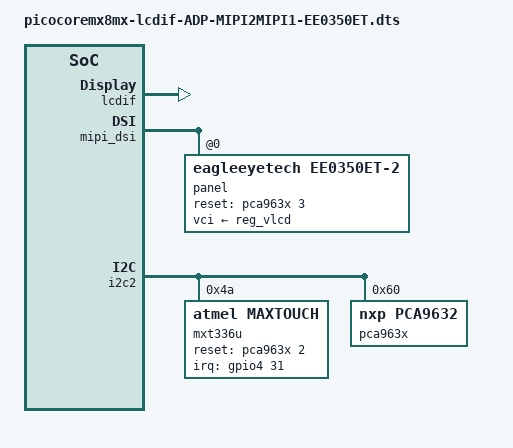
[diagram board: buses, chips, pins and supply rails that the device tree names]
/*
* Copyright (C) 2019 F&S Elektronik Systeme GmbH
*
* This program is free software; you can redistribute it and/or modify
* it under the terms of the GNU General Public License version 2 as
* published by the Free Software Foundation.
*/

#include "picocoremx8mm-bbdsi.dts"

&lcdif {
	status = "okay";
};

&mipi_dsi {
	status = "okay";

	panel@0 {
		compatible = "eagleeyetech,ee0350et-2";
		reg = <0>;
		reset-gpios = <&pca963x 3 GPIO_ACTIVE_HIGH>;
		//iovcc-supply = <&reg_vref_1v8>;
		vci-supply = <&reg_vlcd>;
		status = "okay";
	};
};


&i2c2 {
	/* Atmel PCAP touch on Touch Connector (I2C) */
	mxt336u@4a {
		compatible = "atmel,maxtouch";
		reg = <0x4a>;
		interrupt-parent = <&gpio4>;
		interrupts = <31 IRQ_TYPE_EDGE_FALLING>;
		atmel,cfg_name = "atmel/mxt336u.cfg";
		reset-gpios = <&pca963x 2 0>;
	};

	pca963x: pca9632@60 {
			compatible = "nxp,pca9632";
			reg = <0x60>;
			nxp,totem-pole;
			#address-cells = <1>;
			#size-cells = <0>;
			#pwm-cells = <3>;
			#gpio-cells = <2>;
			led@0 {
				reg = <0>;
				label = "1-LEDCTRL";
				type = "PWM";
				default-on;		/* or: keep-value */
				active-low;
			};
			led@1 {
				reg = <1>;
				label = "0-PWRCTL";
				type = "GPIO";
				default-on;		/* or: keep-value */
				active-high;
			};
			led@2 {
				reg = <2>;
				label = "2-TOUCH-RST";
				type = "GPIO";
				active-low;
			};
			led@3 {
				reg = <3>;
				label = "2-MIPI-RST";
				type = "GPIO";
				active-low;
			};
		};
};

/ {

	regulators {
		reg_ldb_bl {
			gpio = <&pca963x 1 GPIO_ACTIVE_HIGH>;
		};
	};

	backlight_ldb {
		pwms = <&pca963x 0 640000 0>;
		brightness-levels = <0 1 5 10 18 28 41 56
				     73 92 113 137 163 192 222 255>;
		default-brightness-level = <14>;
	};
};

